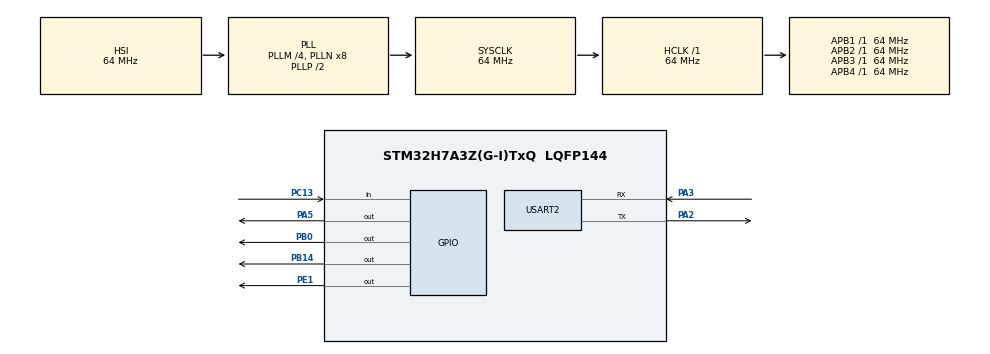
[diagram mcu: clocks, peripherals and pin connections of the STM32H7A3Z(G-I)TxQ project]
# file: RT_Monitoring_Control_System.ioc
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CORTEX_M7.default_mode_Activation=1
FREERTOS.Tasks01=defaultTask,24,128,StartDefaultTask,Default,NULL,Dynamic,NULL,NULL
Mcu.Family=STM32H7
Mcu.Name=STM32H7A3Z(G-I)TxQ
Mcu.Package=LQFP144
NUCLEO-H7A3ZI-Q.BUTTON=1
NUCLEO-H7A3ZI-Q.LD1=true
NUCLEO-H7A3ZI-Q.LD2=true
NUCLEO-H7A3ZI-Q.LD3=true
NUCLEO-H7A3ZI-Q.VCP=true
NVIC.EXTI15_10_IRQn=true\:5\:0\:false\:false\:true\:true\:false\:true\:true
NVIC.PriorityGroup=NVIC_PRIORITYGROUP_4
PA2.Mode=Asynchronous
PA2.Signal=USART2_TX
PA3.Mode=Asynchronous
PA3.Signal=USART2_RX
PA5.Signal=GPIO_Output
PB0.Signal=GPIO_Output
PB14.Signal=GPIO_Output
PC13.Signal=GPIO_Input
PC14-OSC32_IN.GPIO_Label=OSC32_IN
PC14-OSC32_IN.Signal=RCC_OSC32_IN
PC15-OSC32_OUT.GPIO_Label=OSC32_OUT
PC15-OSC32_OUT.Signal=RCC_OSC32_OUT
PD8.Signal=USART3_TX
PD9.Signal=USART3_RX
PE1.Signal=GPIO_Output
PH0-OSC_IN.GPIO_Label=PH0-MCU
PH0-OSC_IN.Signal=RCC_OSC_IN
PH1-OSC_OUT.GPIO_Label=PH1-MCU
PH1-OSC_OUT.Signal=RCC_OSC_OUT
ProjectManager.HeapSize=0x200
ProjectManager.StackSize=0x400
ProjectManager.TargetToolchain=STM32CubeIDE
RCC.ADCFreq_Value=129000000
RCC.APB1Freq_Value=64000000
RCC.APB2Freq_Value=64000000
RCC.APB3Freq_Value=64000000
RCC.APB4Freq_Value=64000000
RCC.CortexFreq_Value=64000000
RCC.DIVM1=4
RCC.DIVM3=1
RCC.DIVN1=8
RCC.DIVN3=24
RCC.DIVQ1=4
RCC.HCLKFreq_Value=64000000
RCC.HSE_VALUE=8000000
RCC.PLLFRACN=0
RCC.PWR_Regulator_Voltage_Scale=PWR_REGULATOR_VOLTAGE_SCALE0
RCC.SYSCLKFreq_VALUE=64000000
RCC.SYSCLKSource=RCC_SYSCLKSOURCE_PLLCLK
RCC.SupplySource=PWR_DIRECT_SMPS_SUPPLY
RCC.USBCLockSelection=RCC_USBCLKSOURCE_HSI48
RCC.USBFreq_Value=48000000
USART2.VirtualMode-Asynchronous=VM_ASYNC
VP_FREERTOS_VS_CMSIS_V2.Mode=CMSIS_V2
VP_MEMORYMAP_VS_MEMORYMAP.Mode=CurAppReg
VP_NUCLEO-H7A3ZI-Q_VS_BSP_COMMON.Mode=COMMON
board=NUCLEO-H7A3ZI-Q

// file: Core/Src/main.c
/* USER CODE BEGIN Header */
/**
  ******************************************************************************
  * @file           : main.c
  * @brief          : Main program body
  ******************************************************************************
  * @attention
  *
  * Copyright (c) 2026 STMicroelectronics.
  * All rights reserved.
  *
  * This software is licensed under terms that can be found in the LICENSE file
  * in the root directory of this software component.
  * If no LICENSE file comes with this software, it is provided AS-IS.
  *
  ******************************************************************************
  */
/* USER CODE END Header */
#include "main.h"
#include "cmsis_os.h"

#include <stdio.h>
#include <string.h>
/* USER CODE BEGIN Includes */
#include "processing_task.h"
/* USER CODE END Includes */

COM_InitTypeDef BspCOMInit;

UART_HandleTypeDef huart2;

/* Definitions for defaultTask */

void SystemClock_Config(void);
static void MPU_Config(void);
static void MX_GPIO_Init(void);
static void MX_USART2_UART_Init(void);
void MX_FREERTOS_Init(void);

int main(void)
{

  /* MPU Configuration--------------------------------------------------------*/
  MPU_Config();

  /* MCU Configuration--------------------------------------------------------*/

  /* Reset of all peripherals, Initializes the Flash interface and the Systick. */
  HAL_Init();

  /* Configure the system clock */
  SystemClock_Config();

  /* Initialize all configured peripherals */
  MX_GPIO_Init();
  MX_USART2_UART_Init();

  /* USER CODE BEGIN 2 */

  /* Initialize leds */
  BSP_LED_Init(LED_GREEN);
  BSP_LED_Init(LED_YELLOW);
  BSP_LED_Init(LED_RED);

  /* Initialize USER push-button, will be used to trigger an interrupt each time it's pressed.*/
  BSP_PB_Init(BUTTON_USER, BUTTON_MODE_EXTI);

  /* Initialize COM1 port (115200, 8 bits (7-bit data + 1 stop bit), no parity */
  BspCOMInit.BaudRate   = 115200;
  BspCOMInit.WordLength = COM_WORDLENGTH_8B;
  BspCOMInit.StopBits   = COM_STOPBITS_1;
  BspCOMInit.Parity     = COM_PARITY_NONE;
  BspCOMInit.HwFlowCtl  = COM_HWCONTROL_NONE;
  if (BSP_COM_Init(COM1, &BspCOMInit) != BSP_ERROR_NONE)
  {
    Error_Handler();
  }

  /* Send startup message via ST-LINK VCP (USART3) */
  char startMsg[] = "System start\r\n";
  HAL_UART_Transmit(&hcom_uart[COM1], (uint8_t*)startMsg, strlen(startMsg), HAL_MAX_DELAY);

  /* USER CODE END 2 */

  /* Init scheduler */
  osKernelInitialize();

  /* Create the thread(s) */
  /* creation of defaultTask */
  MX_FREERTOS_Init();

  /* Start scheduler */
  osKernelStart();

  /* We should never get here as control is now taken by the scheduler */

  /* Infinite loop */
  while (1)
  {

  }
}

void SystemClock_Config(void)
{
  RCC_OscInitTypeDef RCC_OscInitStruct = {0};
  RCC_ClkInitTypeDef RCC_ClkInitStruct = {0};

  /*AXI clock gating */
  RCC->CKGAENR = 0xE003FFFF;

  /** Supply configuration update enable
  */
  HAL_PWREx_ConfigSupply(PWR_DIRECT_SMPS_SUPPLY);

  /** Configure the main internal regulator output voltage
  */
  __HAL_PWR_VOLTAGESCALING_CONFIG(PWR_REGULATOR_VOLTAGE_SCALE0);

  while(!__HAL_PWR_GET_FLAG(PWR_FLAG_VOSRDY)) {}

  /** Initializes the RCC Oscillators according to the specified parameters
  * in the RCC_OscInitTypeDef structure.
  */
  RCC_OscInitStruct.OscillatorType = RCC_OSCILLATORTYPE_HSI;
  RCC_OscInitStruct.HSIState = RCC_HSI_DIV1;
  RCC_OscInitStruct.HSICalibrationValue = 64;
  RCC_OscInitStruct.PLL.PLLState = RCC_PLL_ON;
  RCC_OscInitStruct.PLL.PLLSource = RCC_PLLSOURCE_HSI;
  RCC_OscInitStruct.PLL.PLLM = 4;
  RCC_OscInitStruct.PLL.PLLN = 8;
  RCC_OscInitStruct.PLL.PLLP = 2;
  RCC_OscInitStruct.PLL.PLLQ = 4;
  RCC_OscInitStruct.PLL.PLLR = 2;
  RCC_OscInitStruct.PLL.PLLRGE = RCC_PLL1VCIRANGE_3;
  RCC_OscInitStruct.PLL.PLLVCOSEL = RCC_PLL1VCOWIDE;
  RCC_OscInitStruct.PLL.PLLFRACN = 0;
  if (HAL_RCC_OscConfig(&RCC_OscInitStruct) != HAL_OK)
  {
    Error_Handler();
  }

  /** Initializes the CPU, AHB and APB buses clocks
  */
  RCC_ClkInitStruct.ClockType = RCC_CLOCKTYPE_HCLK|RCC_CLOCKTYPE_SYSCLK
                              |RCC_CLOCKTYPE_PCLK1|RCC_CLOCKTYPE_PCLK2
                              |RCC_CLOCKTYPE_D3PCLK1|RCC_CLOCKTYPE_D1PCLK1;
  RCC_ClkInitStruct.SYSCLKSource = RCC_SYSCLKSOURCE_PLLCLK;
  RCC_ClkInitStruct.SYSCLKDivider = RCC_SYSCLK_DIV1;
  RCC_ClkInitStruct.AHBCLKDivider = RCC_HCLK_DIV1;
  RCC_ClkInitStruct.APB3CLKDivider = RCC_APB3_DIV1;
  RCC_ClkInitStruct.APB1CLKDivider = RCC_APB1_DIV1;
  RCC_ClkInitStruct.APB2CLKDivider = RCC_APB2_DIV1;
  RCC_ClkInitStruct.APB4CLKDivider = RCC_APB4_DIV1;

  if (HAL_RCC_ClockConfig(&RCC_ClkInitStruct, FLASH_LATENCY_1) != HAL_OK)
  {
    Error_Handler();
  }
}

static void MX_USART2_UART_Init(void)
{

  huart2.Instance = USART2;
  huart2.Init.BaudRate = 115200;
  huart2.Init.WordLength = UART_WORDLENGTH_8B;
  huart2.Init.StopBits = UART_STOPBITS_1;
  huart2.Init.Parity = UART_PARITY_NONE;
  huart2.Init.Mode = UART_MODE_TX_RX;
  huart2.Init.HwFlowCtl = UART_HWCONTROL_NONE;
  huart2.Init.OverSampling = UART_OVERSAMPLING_16;
  huart2.Init.OneBitSampling = UART_ONE_BIT_SAMPLE_DISABLE;
  huart2.Init.ClockPrescaler = UART_PRESCALER_DIV1;
  huart2.AdvancedInit.AdvFeatureInit = UART_ADVFEATURE_NO_INIT;
  if (HAL_UART_Init(&huart2) != HAL_OK)
  {
    Error_Handler();
  }
  if (HAL_UARTEx_SetTxFifoThreshold(&huart2, UART_TXFIFO_THRESHOLD_1_8) != HAL_OK)
  {
    Error_Handler();
  }
  if (HAL_UARTEx_SetRxFifoThreshold(&huart2, UART_RXFIFO_THRESHOLD_1_8) != HAL_OK)
  {
    Error_Handler();
  }
  if (HAL_UARTEx_DisableFifoMode(&huart2) != HAL_OK)
  {
    Error_Handler();
  }

}

static void MX_GPIO_Init(void)
{
  GPIO_InitTypeDef GPIO_InitStruct = {0};

  /* GPIO Ports Clock Enable */
  __HAL_RCC_GPIOC_CLK_ENABLE();
  __HAL_RCC_GPIOH_CLK_ENABLE();
  __HAL_RCC_GPIOA_CLK_ENABLE();
  __HAL_RCC_GPIOB_CLK_ENABLE();   /* Needed for LED_YELLOW (PB0) and LED_RED (PB14) */
  __HAL_RCC_GPIOD_CLK_ENABLE();   /* Needed for USART3 pins (PD8/PD9) */
  __HAL_RCC_GPIOE_CLK_ENABLE();   /* Needed for PE1 (GPIO output) */

  /*Configure GPIO pin Output Level */
  HAL_GPIO_WritePin(GPIOA, GPIO_PIN_5, GPIO_PIN_RESET);

  /*Configure GPIO pin : PA5 */
  GPIO_InitStruct.Pin = GPIO_PIN_5;
  GPIO_InitStruct.Mode = GPIO_MODE_OUTPUT_PP;
  GPIO_InitStruct.Pull = GPIO_NOPULL;
  GPIO_InitStruct.Speed = GPIO_SPEED_FREQ_LOW;
  HAL_GPIO_Init(GPIOA, &GPIO_InitStruct);

}

/* USER CODE BEGIN 4 */

/**
  * @brief  BSP User Button callback.
  *         Called when the blue USER button on the Nucleo board is pressed.
  *         Used to reset the system from SHUTDOWN state.
  */
void BSP_PB_Callback(Button_TypeDef Button)
{
    if (Button == BUTTON_USER)
    {
        RequestStateReset();
    }
}

/* USER CODE END 4 */

 /* MPU Configuration */

void MPU_Config(void)
{
  MPU_Region_InitTypeDef MPU_InitStruct = {0};

  /* Disables the MPU */
  HAL_MPU_Disable();

  /** Initializes and configures the Region and the memory to be protected
  */
  MPU_InitStruct.Enable = MPU_REGION_ENABLE;
  MPU_InitStruct.Number = MPU_REGION_NUMBER0;
  MPU_InitStruct.BaseAddress = 0x0;
  MPU_InitStruct.Size = MPU_REGION_SIZE_4GB;
  MPU_InitStruct.SubRegionDisable = 0x87;
  MPU_InitStruct.TypeExtField = MPU_TEX_LEVEL0;
  MPU_InitStruct.AccessPermission = MPU_REGION_NO_ACCESS;
  MPU_InitStruct.DisableExec = MPU_INSTRUCTION_ACCESS_DISABLE;
  MPU_InitStruct.IsShareable = MPU_ACCESS_SHAREABLE;
  MPU_InitStruct.IsCacheable = MPU_ACCESS_NOT_CACHEABLE;
  MPU_InitStruct.IsBufferable = MPU_ACCESS_NOT_BUFFERABLE;

  HAL_MPU_ConfigRegion(&MPU_InitStruct);
  /* Enables the MPU */
  HAL_MPU_Enable(MPU_PRIVILEGED_DEFAULT);

}

void Error_Handler(void)
{
  __disable_irq();
  while (1)
  {
  }
}

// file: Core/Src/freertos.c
/* USER CODE BEGIN Header */
/**
  ******************************************************************************
  * File Name          : freertos.c
  * Description        : FreeRTOS task creation, queue setup, and RTOS
  *                      initialization for the RT Monitoring & Control System.
  ******************************************************************************
  * @attention
  *
  * Copyright (c) 2026 STMicroelectronics.
  * All rights reserved.
  *
  * This software is licensed under terms that can be found in the LICENSE file
  * in the root directory of this software component.
  * If no LICENSE file comes with this software, it is provided AS-IS.
  *
  ******************************************************************************
  */
/* USER CODE END Header */

#include "FreeRTOS.h"
#include "task.h"
#include "queue.h"
#include "main.h"

/* USER CODE BEGIN Includes */
#include "system_types.h"
#include "sensor_task.h"
#include "comm_task.h"
#include "processing_task.h"
#include "logging_task.h"
#include <string.h>
#include <stdio.h>
/* USER CODE END Includes */

/* USER CODE BEGIN Variables */

/* Task handles */
TaskHandle_t sensorTaskHandle;
TaskHandle_t commTaskHandle;
TaskHandle_t processingTaskHandle;
TaskHandle_t loggingTaskHandle;

/* Inter-task communication queues */
QueueHandle_t sensorToCommQueue;     /* SensorTask → CommTask */
QueueHandle_t commToProcessQueue;    /* CommTask → ProcessingTask */
QueueHandle_t processToLogQueue;     /* ProcessingTask → LoggingTask */

/* USER CODE END Variables */

void MX_FREERTOS_Init(void)
{
    /* ====================================================================== */
    /*  Create inter-task communication queues                                */
    /* ====================================================================== */

    sensorToCommQueue  = xQueueCreate(SENSOR_QUEUE_SIZE,  sizeof(CANMessage_t));
    commToProcessQueue = xQueueCreate(PROCESS_QUEUE_SIZE, sizeof(CANMessage_t));
    processToLogQueue  = xQueueCreate(LOG_QUEUE_SIZE,     sizeof(LogEntry_t));

    /* Verify all queues were created successfully */
    configASSERT(sensorToCommQueue  != NULL);
    configASSERT(commToProcessQueue != NULL);
    configASSERT(processToLogQueue  != NULL);

    /* ====================================================================== */
    /*  Create application tasks                                              */
    /*                                                                        */
    /*  Priority hierarchy:                                                   */
    /*    3 (Highest) - CommTask, ProcessingTask (time-critical data path)    */
    /*    2           - SensorTask (periodic data generation)                 */
    /*    1 (Lowest)  - LoggingTask (non-critical output)                    */
    /* ====================================================================== */

    xTaskCreate(SensorTask,
                "SensorTask",
                256,            /* Stack size in words */
                NULL,
                2,              /* Priority: Normal */
                &sensorTaskHandle);

    xTaskCreate(CommTask,
                "CommTask",
                256,            /* Stack size in words */
                NULL,
                3,              /* Priority: Above Normal */
                &commTaskHandle);

    xTaskCreate(ProcessingTask,
                "ProcessTask",
                512,            /* Stack size in words (needs space for float ops) */
                NULL,
                3,              /* Priority: Above Normal */
                &processingTaskHandle);

    xTaskCreate(LoggingTask,
                "LogTask",
                512,            /* Stack size in words (needs space for snprintf) */
                NULL,
                1,              /* Priority: Below Normal (non-critical) */
                &loggingTaskHandle);

    /* Verify all tasks were created successfully */
    configASSERT(sensorTaskHandle     != NULL);
    configASSERT(commTaskHandle       != NULL);
    configASSERT(processingTaskHandle != NULL);
    configASSERT(loggingTaskHandle    != NULL);
}
